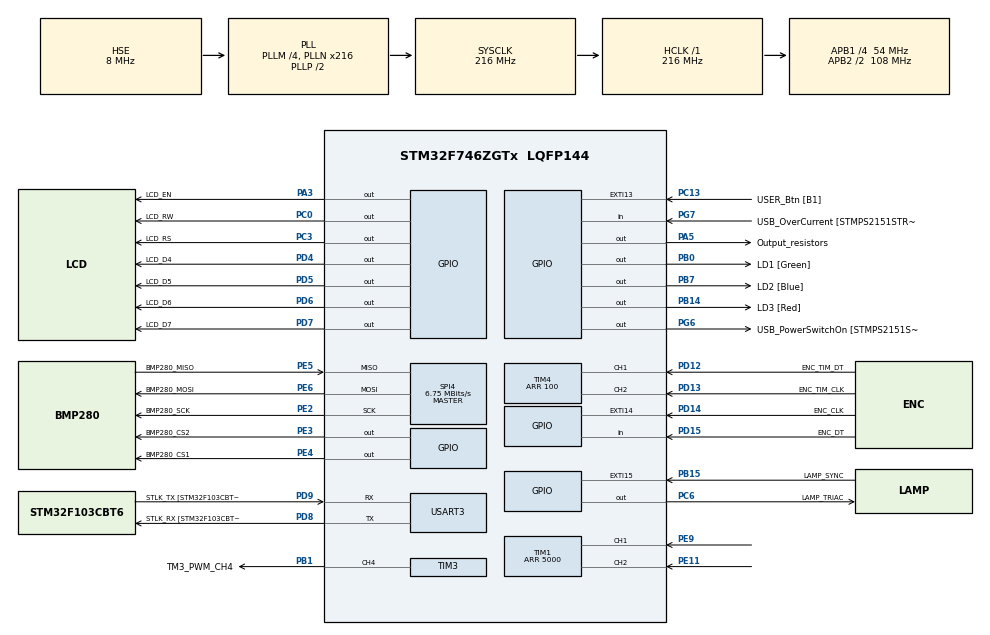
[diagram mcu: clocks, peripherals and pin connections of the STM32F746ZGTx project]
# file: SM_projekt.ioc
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Mcu.Family=STM32F7
Mcu.Name=STM32F746ZGTx
Mcu.Package=LQFP144
NVIC.EXTI15_10_IRQn=true\:0\:0\:false\:false\:true\:true\:true
NVIC.PriorityGroup=NVIC_PRIORITYGROUP_4
NVIC.TIM2_IRQn=true\:0\:0\:false\:false\:true\:true\:true
NVIC.TIM3_IRQn=true\:0\:0\:false\:false\:true\:true\:true
NVIC.USART3_IRQn=true\:0\:0\:false\:false\:true\:true\:true
PA1.GPIO_Label=RMII_REF_CLK [LAN8742A-CZ-TR_REFCLK0]
PA1.Signal=ETH_REF_CLK
PA10.GPIO_Label=USB_ID
PA10.Signal=USB_OTG_FS_ID
PA11.GPIO_Label=USB_DM
PA11.Signal=USB_OTG_FS_DM
PA12.GPIO_Label=USB_DP
PA12.Signal=USB_OTG_FS_DP
PA13.GPIO_Label=TMS
PA13.Mode=Serial_Wire
PA13.Signal=SYS_JTMS-SWDIO
PA14.GPIO_Label=TCK
PA14.Mode=Serial_Wire
PA14.Signal=SYS_JTCK-SWCLK
PA2.GPIO_Label=RMII_MDIO [LAN8742A-CZ-TR_MDIO]
PA2.Signal=ETH_MDIO
PA3.GPIO_Label=LCD_EN
PA3.Signal=GPIO_Output
PA5.GPIO_Label=Output_resistors
PA5.GPIO_PuPd=GPIO_PULLDOWN
PA5.Signal=GPIO_Output
PA8.GPIO_Label=USB_SOF [TP1]
PA8.Signal=USB_OTG_FS_SOF
PA9.GPIO_Label=USB_VBUS
PA9.Signal=USB_OTG_FS_VBUS
PB0.GPIO_Label=LD1 [Green]
PB0.Signal=GPIO_Output
PB1.GPIO_Label=TM3_PWM_CH4
PB1.Signal=S_TIM3_CH4
PB13.GPIO_Label=RMII_TXD1 [LAN8742A-CZ-TR_TXD1]
PB13.Signal=ETH_TXD1
PB14.GPIO_Label=LD3 [Red]
PB14.Signal=GPIO_Output
PB15.GPIO_Label=LAMP_SYNC
PB15.Signal=GPXTI15
PB3.GPIO_Label=SW0
PB3.Signal=SYS_JTDO-SWO
PB7.GPIO_Label=LD2 [Blue]
PB7.Signal=GPIO_Output
PC0.GPIO_Label=LCD_RW
PC0.Signal=GPIO_Output
PC1.GPIO_Label=RMII_MDC [LAN8742A-CZ-TR_MDC]
PC1.Signal=ETH_MDC
PC13.GPIO_Label=USER_Btn [B1]
PC13.Signal=GPXTI13
PC14/OSC32_IN.Mode=LSE-External-Oscillator
PC14/OSC32_IN.Signal=RCC_OSC32_IN
PC15/OSC32_OUT.Mode=LSE-External-Oscillator
PC15/OSC32_OUT.Signal=RCC_OSC32_OUT
PC3.GPIO_Label=LCD_RS
PC3.Signal=GPIO_Output
PC4.GPIO_Label=RMII_RXD0 [LAN8742A-CZ-TR_RXD0]
PC4.Signal=ETH_RXD0
PC5.GPIO_Label=RMII_RXD1 [LAN8742A-CZ-TR_RXD1]
PC5.Signal=ETH_RXD1
PC6.GPIO_Label=LAMP_TRIAC
PC6.GPIO_Speed=GPIO_SPEED_FREQ_HIGH
PC6.Signal=GPIO_Output
PD12.GPIO_Label=ENC_TIM_DT
PD12.Signal=S_TIM4_CH1
PD13.GPIO_Label=ENC_TIM_CLK
PD13.Signal=S_TIM4_CH2
PD14.GPIO_Label=ENC_CLK
PD14.GPIO_ModeDefaultEXTI=GPIO_MODE_IT_FALLING
PD14.Signal=GPXTI14
PD15.GPIO_Label=ENC_DT
PD15.Signal=GPIO_Input
PD4.GPIO_Label=LCD_D4
PD4.Signal=GPIO_Output
PD5.GPIO_Label=LCD_D5
PD5.Signal=GPIO_Output
PD6.GPIO_Label=LCD_D6
PD6.Signal=GPIO_Output
PD7.GPIO_Label=LCD_D7
PD7.Signal=GPIO_Output
PD8.GPIO_Label=STLK_RX [STM32F103CBT6_PA3]
PD8.Mode=Asynchronous
PD8.Signal=USART3_TX
PD9.GPIO_Label=STLK_TX [STM32F103CBT6_PA2]
PD9.Mode=Asynchronous
PD9.Signal=USART3_RX
PE11.Signal=S_TIM1_CH2
PE2.GPIO_Label=BMP280_SCK
PE2.Mode=Full_Duplex_Master
PE2.Signal=SPI4_SCK
PE3.GPIO_Label=BMP280_CS2
PE3.GPIO_Speed=GPIO_SPEED_FREQ_VERY_HIGH
PE3.PinState=GPIO_PIN_SET
PE3.Signal=GPIO_Output
PE4.GPIO_Label=BMP280_CS1
PE4.GPIO_Speed=GPIO_SPEED_FREQ_VERY_HIGH
PE4.PinState=GPIO_PIN_SET
PE4.Signal=GPIO_Output
PE5.GPIO_Label=BMP280_MISO
PE5.Mode=Full_Duplex_Master
PE5.Signal=SPI4_MISO
PE6.GPIO_Label=BMP280_MOSI
PE6.Mode=Full_Duplex_Master
PE6.Signal=SPI4_MOSI
PE9.Signal=S_TIM1_CH1
PG11.GPIO_Label=RMII_TX_EN [LAN8742A-CZ-TR_TXEN]
PG11.Signal=ETH_TX_EN
PG13.GPIO_Label=RMII_TXD0 [LAN8742A-CZ-TR_TXD0]
PG13.Signal=ETH_TXD0
PG6.GPIO_Label=USB_PowerSwitchOn [STMPS2151STR_EN]
PG6.Signal=GPIO_Output
PG7.GPIO_Label=USB_OverCurrent [STMPS2151STR_FAULT]
PG7.Signal=GPIO_Input
PH0/OSC_IN.GPIO_Label=MCO [STM32F103CBT6_PA8]
PH0/OSC_IN.Mode=HSE-External-Clock-Source
PH0/OSC_IN.Signal=RCC_OSC_IN
PH1/OSC_OUT.Mode=HSE-External-Clock-Source
PH1/OSC_OUT.Signal=RCC_OSC_OUT
ProjectManager.HeapSize=0x200
ProjectManager.StackSize=0x400
ProjectManager.TargetToolchain=STM32CubeIDE
RCC.48MHZClocksFreq_Value=24000000
RCC.AHBFreq_Value=216000000
RCC.APB1CLKDivider=RCC_HCLK_DIV4
RCC.APB1Freq_Value=54000000
RCC.APB1TimFreq_Value=108000000
RCC.APB2CLKDivider=RCC_HCLK_DIV2
RCC.APB2Freq_Value=108000000
RCC.APB2TimFreq_Value=216000000
RCC.CortexFreq_Value=216000000
RCC.HCLKFreq_Value=216000000
RCC.HSE_VALUE=8000000
RCC.HSI_VALUE=16000000
RCC.PLLM=4
RCC.PLLMUL=RCC_PLL_MUL9
RCC.PLLN=216
RCC.PLLQ=3
RCC.PLLSourceVirtual=RCC_PLLSOURCE_HSE
RCC.PRESCALERUSB=RCC_USBCLKSOURCE_PLL_DIV1_5
RCC.SYSCLKFreq_VALUE=216000000
RCC.SYSCLKSource=RCC_SYSCLKSOURCE_PLLCLK
RCC.SYSCLKSourceVirtual=RCC_SYSCLKSOURCE_PLLCLK
RCC.USBFreq_Value=144000000
RCC.VCOOutputFreq_Value=432000000
SH.S_TIM1_CH1.0=TIM1_CH1,Encoder_Interface
SH.S_TIM1_CH2.0=TIM1_CH2,Encoder_Interface
SH.S_TIM3_CH4.0=TIM3_CH4,PWM Generation4 CH4
SH.S_TIM4_CH1.0=TIM4_CH1,Encoder_Interface
SH.S_TIM4_CH2.0=TIM4_CH2,Encoder_Interface
SPI4.BaudRatePrescaler=SPI_BAUDRATEPRESCALER_16
SPI4.CLKPhase=SPI_PHASE_2EDGE
SPI4.CLKPolarity=SPI_POLARITY_HIGH
SPI4.CalculateBaudRate=6.75 MBits/s
SPI4.DataSize=SPI_DATASIZE_8BIT
SPI4.Direction=SPI_DIRECTION_2LINES
SPI4.Mode=SPI_MODE_MASTER
SPI4.VirtualType=VM_MASTER
TIM1.Period=5000
TIM2.Period=4999
TIM2.Prescaler=107
TIM3.Channel-PWM\ Generation4\ CH4=TIM_CHANNEL_4
TIM3.Period=999
TIM3.Prescaler=107
TIM4.EncoderMode=TIM_ENCODERMODE_TI12
TIM4.IC1Polarity=TIM_ICPOLARITY_FALLING
TIM4.IC2Polarity=TIM_ICPOLARITY_FALLING
TIM4.Period=100
USART3.VirtualMode-Asynchronous=VM_ASYNC
VP_TIM2_VS_ClockSourceINT.Mode=Internal
VP_TIM3_VS_ClockSourceINT.Mode=Internal
board=NUCLEO-F746ZG

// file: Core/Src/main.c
/* USER CODE BEGIN Header */
/**
  ******************************************************************************
  * @file           : main.c
  * @brief          : Main program body
  ******************************************************************************
  * @attention
  *
  * <h2><center>&copy; Copyright (c) 2021 STMicroelectronics.
  * All rights reserved.</center></h2>
  *
  * This software component is licensed by ST under BSD 3-Clause license,
  * the "License"; You may not use this file except in compliance with the
  * License. You may obtain a copy of the License at:
  *                        opensource.org/licenses/BSD-3-Clause
  *
  ******************************************************************************
  */
/* USER CODE END Header */
#include "main.h"
#include "spi.h"
#include "tim.h"
#include "usart.h"
#include "gpio.h"

/* USER CODE BEGIN Includes */
#include "bmp280.h"
#include "bmp280_defs.h"
/* USER CODE END Includes */

/* USER CODE BEGIN PD */
#define BMP280_SPI (&hspi4)
#define BMP280_CS1 1
/* USER CODE END PD */

/* USER CODE BEGIN PV */

GPIO_PinState state = GPIO_PIN_RESET;
float setpoint = 25.0;
float actualValue = 0.0;
float kP = 1.0;
float kI = 0.5;
float kD = 0.1;
const float Tp = 0.125;
float maxI = 200;
float maxD = 200;
float maxm = 1000;
const float scale = 50.0/5000.0;

/* USER CODE END PV */

void SystemClock_Config(void);
/* USER CODE BEGIN PFP */
int8_t bmp280_spi_reg_read(uint8_t cs, uint8_t reg_addr, uint8_t *data, uint16_t len);
int8_t bmp280_spi_reg_write(uint8_t cs, uint8_t reg_addr, uint8_t *data, uint16_t len);
/* USER CODE END PFP */

/* USER CODE BEGIN 0 */

/**
  * @brief  Support of regulation
  * @param Actual temperature measured with sensor
  * @retval float
  */
float PID (float actual) {
	static float e1 = 0.0;
	static float e = 0.0;
	static float I1 = 0.0;
//	static float mD1 = 0.0;
	static float m = 0.0;

	float I = 0.0;
	float D = 0.0;
	float P = 0.0;
	e=setpoint-actual;

	/* integral term */
	I = kI*Tp*e+I1;

	/* derivative term */
	D = kD/Tp*(e-e1);

	/* proportional term */
	P = kP*e;

	e1=e;

	if(I > maxI) {
		I = maxI;
	} else if(I < -maxI) {
		I=-maxI;
	}

	if(D > maxD) {
		D = maxD;
	} else if (D < -maxD) {
		D = -maxD;
	}

	m=P+I+D;

	if(m > maxm) {
		m=maxm;
	} else if (m <= 0.0) {
		m=0.0;
	}
	I1=I;
	return m;

}

/**
* @brief EXTI line detection callbacks .
* @param GPIO_Pin Specifies the pins connected EXTI line
* @retval None
*/
void HAL_GPIO_EXTI_Callback(uint16_t GPIO_Pin){
    if(GPIO_Pin == User_btn_ex1_Pin){
        if(setpoint<50){
        	setpoint = setpoint + 1;
        }
    }
    if(GPIO_Pin == User_btn_ex2_Pin){
        if(setpoint>25){
        	setpoint = setpoint - 1;
        }
    }
}

/**
  * @brief  Period elapsed callback in non-blocking mode
  * @param  htim TIM handle
  * @retval None
  */
void HAL_TIM_PeriodElapsedCallback(TIM_HandleTypeDef *htim) {
	float toSet = 0.0;
	//setpoint=((int)TIM1->CNT)*scale;
	toSet=PID(actualValue);
	__HAL_TIM_SET_COMPARE(&htim3, TIM_CHANNEL_4, floorf(toSet));
}

int dutyCycleR = 0;
char recievedMessage[6];
void HAL_UART_RxCpltCallback(UART_HandleTypeDef *huart)
{
	if(huart->Instance == USART3){
		sscanf(recievedMessage, "Temp%d", &dutyCycleR);
		if(dutyCycleR<=50 && dutyCycleR>=25){
			setpoint=(float)dutyCycleR;
		}
		HAL_UART_Transmit(&huart3, recievedMessage, 6, 100);
		HAL_UART_Receive_IT(&huart3, (uint8_t*)recievedMessage, 6);
	}
}
/* USER CODE END 0 */

int main(void)
{
  /* USER CODE BEGIN 1 */
	struct bmp280_dev bmp280_1 = {
			.dev_id = BMP280_CS1,
			.read = bmp280_spi_reg_read,
			.write = bmp280_spi_reg_write,
			.intf = BMP280_SPI_INTF,
			.delay_ms = HAL_Delay

		};
	struct bmp280_uncomp_data bmp280_1_data;
  /* USER CODE END 1 */

  /* MCU Configuration--------------------------------------------------------*/

  /* Reset of all peripherals, Initializes the Flash interface and the Systick. */
  HAL_Init();

  /* USER CODE BEGIN Init */
  HAL_UART_Receive_IT(&huart3, (uint8_t*)recievedMessage, 6);
  /* USER CODE END Init */

  /* Configure the system clock */
  SystemClock_Config();

  /* Initialize all configured peripherals */
  MX_GPIO_Init();
  MX_USART3_UART_Init();
  MX_TIM2_Init();
  MX_TIM3_Init();
  MX_TIM4_Init();
  MX_SPI4_Init();
  MX_TIM1_Init();
  /* USER CODE BEGIN 2 */
  HAL_TIM_Base_Start_IT(&htim3);
  HAL_UART_Receive_IT(&huart3, recievedMessage, 6);
 // HAL_GPIO_WritePin(Output_resistors_GPIO_Port, Output_resistors_Pin, GPIO_PIN_RESET);
  HAL_TIM_PWM_Start(&htim3, TIM_CHANNEL_4);
  //HAL_TIM_Encoder_Start(&htim1, TIM_CHANNEL_ALL);
  //TIM1->CNT=3000;
  int8_t rslt;
  struct bmp280_config conf;

  rslt = bmp280_init(&bmp280_1);
  /* Always read the current settings before writing, especially when
  * all the configuration is not modified
  */
  rslt = bmp280_get_config(&conf, &bmp280_1);
  /* configuring the temperature oversampling, filter coefficient and output data rate */
  /* Overwrite the desired settings */
  conf.filter = BMP280_FILTER_OFF;

  /* Temperature oversampling set at 1x */
  conf.os_temp = BMP280_OS_1X;

  /* Setting the output data rate as 8Hz(125ms) */
  conf.odr = BMP280_ODR_125_MS;
  rslt = bmp280_set_config(&conf, &bmp280_1);
  //print_rslt(" bmp280_set_config status", rslt);

  /* Always set the power mode after setting the configuration */
  rslt = bmp280_set_power_mode(BMP280_NORMAL_MODE, &bmp280_1);

  int32_t temp32;
  double temp;
  /* USER CODE END 2 */

  /* Infinite loop */
  /* USER CODE BEGIN WHILE */
  while (1)
  {

	  /* Reading the raw data from sensor */
	  rslt = bmp280_get_uncomp_data(&bmp280_1_data, &bmp280_1);

	  /* Getting the 32 bit compensated temperature */
	  rslt = bmp280_get_comp_temp_32bit(&temp32, bmp280_1_data.uncomp_temp, &bmp280_1);

	  /* Getting the compensated temperature as floating point value */
	  rslt = bmp280_get_comp_temp_double(&temp, bmp280_1_data.uncomp_temp, &bmp280_1);
	  /* Sleep time between measurements = BMP280_ODR_125_MS */
	  actualValue = (float)temp;

	  char tx_buffer[25];
	  int tx_n = sprintf(tx_buffer , "Temp: %.2f [degC]\r\n" , (float)temp);
	  HAL_UART_Transmit(&huart3, (uint8_t*)tx_buffer , tx_n , 100);

	  bmp280_1.delay_ms(125);
    /* USER CODE END WHILE */

  }
}

void SystemClock_Config(void)
{
  RCC_OscInitTypeDef RCC_OscInitStruct = {0};
  RCC_ClkInitTypeDef RCC_ClkInitStruct = {0};
  RCC_PeriphCLKInitTypeDef PeriphClkInitStruct = {0};

  /** Configure LSE Drive Capability
  */
  HAL_PWR_EnableBkUpAccess();
  /** Configure the main internal regulator output voltage
  */
  __HAL_RCC_PWR_CLK_ENABLE();
  __HAL_PWR_VOLTAGESCALING_CONFIG(PWR_REGULATOR_VOLTAGE_SCALE1);
  /** Initializes the RCC Oscillators according to the specified parameters
  * in the RCC_OscInitTypeDef structure.
  */
  RCC_OscInitStruct.OscillatorType = RCC_OSCILLATORTYPE_HSE;
  RCC_OscInitStruct.HSEState = RCC_HSE_BYPASS;
  RCC_OscInitStruct.PLL.PLLState = RCC_PLL_ON;
  RCC_OscInitStruct.PLL.PLLSource = RCC_PLLSOURCE_HSE;
  RCC_OscInitStruct.PLL.PLLM = 4;
  RCC_OscInitStruct.PLL.PLLN = 216;
  RCC_OscInitStruct.PLL.PLLP = RCC_PLLP_DIV2;
  RCC_OscInitStruct.PLL.PLLQ = 3;
  if (HAL_RCC_OscConfig(&RCC_OscInitStruct) != HAL_OK)
  {
    Error_Handler();
  }
  /** Activate the Over-Drive mode
  */
  if (HAL_PWREx_EnableOverDrive() != HAL_OK)
  {
    Error_Handler();
  }
  /** Initializes the CPU, AHB and APB buses clocks
  */
  RCC_ClkInitStruct.ClockType = RCC_CLOCKTYPE_HCLK|RCC_CLOCKTYPE_SYSCLK
                              |RCC_CLOCKTYPE_PCLK1|RCC_CLOCKTYPE_PCLK2;
  RCC_ClkInitStruct.SYSCLKSource = RCC_SYSCLKSOURCE_PLLCLK;
  RCC_ClkInitStruct.AHBCLKDivider = RCC_SYSCLK_DIV1;
  RCC_ClkInitStruct.APB1CLKDivider = RCC_HCLK_DIV4;
  RCC_ClkInitStruct.APB2CLKDivider = RCC_HCLK_DIV2;

  if (HAL_RCC_ClockConfig(&RCC_ClkInitStruct, FLASH_LATENCY_7) != HAL_OK)
  {
    Error_Handler();
  }
  PeriphClkInitStruct.PeriphClockSelection = RCC_PERIPHCLK_USART3;
  PeriphClkInitStruct.Usart3ClockSelection = RCC_USART3CLKSOURCE_PCLK1;
  if (HAL_RCCEx_PeriphCLKConfig(&PeriphClkInitStruct) != HAL_OK)
  {
    Error_Handler();
  }
}

/* USER CODE BEGIN 4 */

/*!
* @brief Function for writing the sensor 's registers through SPI bus.
*
* @param [in] cs : Chip select to enable the sensor .
* @param [in] reg_addr : Register address .
* @param [in] reg_data : Pointer to the data buffer whose data has to be written
* @param [in] length : No of bytes to write .
*
* @return Status of execution
* @retval 0 -> Success
* @retval >0 -> Failure Info
*
*/
#define BMP280_SPI_BUFFER_LEN 28
#define BMP280_DATA_INDEX 1
int8_t bmp280_spi_reg_write ( uint8_t cs , uint8_t reg_addr , uint8_t * reg_data , uint16_t
length )
 {
 /* Implement the SPI write routine according to the target machine . */
 HAL_StatusTypeDef status = HAL_OK ;
 int32_t iError = BMP280_OK ;
 uint8_t txarray [ BMP280_SPI_BUFFER_LEN ];
 uint8_t stringpos ;

 /* Copy register address and data to tx buffer */
 txarray [0] = reg_addr ;
 for ( stringpos = 0; stringpos < length ; stringpos ++)
 {
 txarray [ stringpos + BMP280_DATA_INDEX ] = reg_data [ stringpos ];
 }
 // memcpy ( txarray + BMP280_DATA_INDEX , reg_data , length );

 /* Software slave selection procedure */
 if( cs == BMP280_CS1 )
 HAL_GPIO_WritePin ( BMP280_CS1_GPIO_Port , BMP280_CS1_Pin , GPIO_PIN_RESET ) ;

 /* Data exchange */
 status = HAL_SPI_Transmit ( BMP280_SPI , ( uint8_t *) (& txarray ) , length +1 , 100) ;
 while ( BMP280_SPI -> State == HAL_SPI_STATE_BUSY ) {};

 /* Disable all slaves */
 HAL_GPIO_WritePin ( BMP280_CS1_GPIO_Port , BMP280_CS1_Pin , GPIO_PIN_SET ) ;

 if ( status != HAL_OK )
 {
 // The BMP280 API calls for 0 return value as a success , and -1 returned as failure
 iError = ( -1) ;
 }

 return ( int8_t ) iError ;
}

/*!
* @brief Function for reading the sensor 's registers through SPI bus.
*
* @param [in] cs : Chip select to enable the sensor .
* @param [in] reg_addr : Register address .
* @param [ out] reg_data : Pointer to the data buffer to store the read data .
* @param [in] length : No of bytes to read .
*
* @return Status of execution
* @retval 0 -> Success
* @retval >0 -> Failure Info
*
*/
int8_t bmp280_spi_reg_read ( uint8_t cs , uint8_t reg_addr , uint8_t * reg_data , uint16_t
length )
 {
 /* Implement the SPI read routine according to the target machine . */
 HAL_StatusTypeDef status = HAL_OK ;
 int32_t iError = BMP280_OK ;
 uint8_t txarray [ BMP280_SPI_BUFFER_LEN ] = {0 ,};
 uint8_t rxarray [ BMP280_SPI_BUFFER_LEN ] = {0 ,};
 uint8_t stringpos ;

 txarray [0] = reg_addr ;

 /* Software slave selection procedure */
 if( cs == BMP280_CS1 )
 HAL_GPIO_WritePin ( BMP280_CS1_GPIO_Port , BMP280_CS1_Pin , GPIO_PIN_RESET ) ;

 /* Data exchange */
 status = HAL_SPI_TransmitReceive ( BMP280_SPI , ( uint8_t *) (& txarray ) , ( uint8_t *) (&
rxarray ) , length +1 , 5) ;
 while ( BMP280_SPI -> State == HAL_SPI_STATE_BUSY ) {};

 /* Disable all slaves */
 HAL_GPIO_WritePin ( BMP280_CS1_GPIO_Port , BMP280_CS1_Pin , GPIO_PIN_SET ) ;

 /* Copy data from rx buffer */
 for ( stringpos = 0; stringpos < length ; stringpos ++)
 {
 reg_data [ stringpos ] = rxarray [ stringpos + BMP280_DATA_INDEX ];
 }
 // memcpy ( reg_data , rxarray + BMP280_DATA_INDEX , length );

 if ( status != HAL_OK )
 {
 // The BME280 API calls for 0 return value as a success , and -1 returned as failure
 iError = ( -1) ;
 }

 return ( int8_t ) iError ;
}
/* USER CODE END 4 */

void Error_Handler(void)
{
}

/************************ (C) COPYRIGHT STMicroelectronics *****END OF FILE****/
